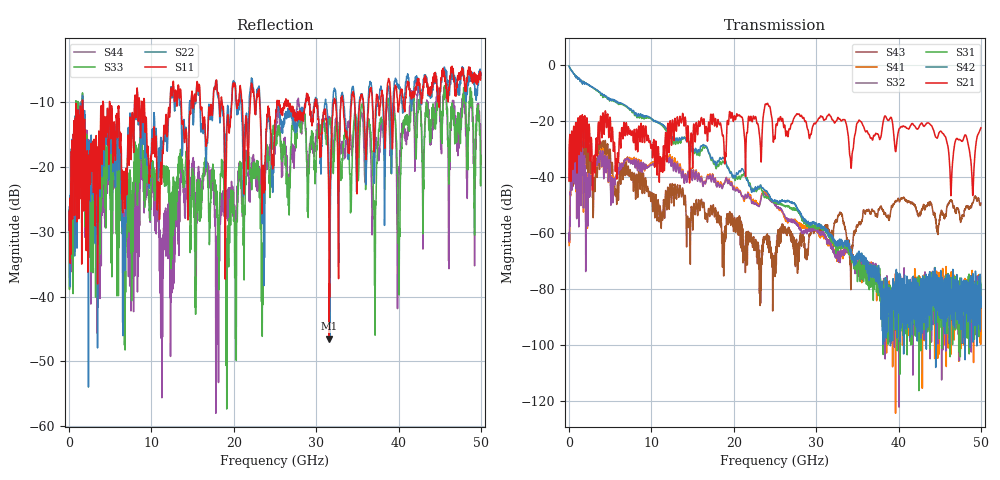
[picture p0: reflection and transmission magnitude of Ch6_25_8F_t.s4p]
!Agilent Technologies,N5247A,US51170199,A.09.90.13
!Agilent N5247A: A.09.90.13
!Date: Wednesday, December 16, 2015 09:41:17
!Correction: S11(Full 4 Port(1,2,3,4))
!S12(Full 4 Port(1,2,3,4))
!S13(Full 4 Port(1,2,3,4))
!S14(Full 4 Port(1,2,3,4))
!S21(Full 4 Port(1,2,3,4))
!S22(Full 4 Port(1,2,3,4))
!S23(Full 4 Port(1,2,3,4))
!S24(Full 4 Port(1,2,3,4))
!S31(Full 4 Port(1,2,3,4))
!S32(Full 4 Port(1,2,3,4))
!S33(Full 4 Port(1,2,3,4))
!S34(Full 4 Port(1,2,3,4))
!S41(Full 4 Port(1,2,3,4))
!S42(Full 4 Port(1,2,3,4))
!S43(Full 4 Port(1,2,3,4))
!S44(Full 4 Port(1,2,3,4))
!S4P File: Measurements: <S11,S12,S13,S14>,
!<S21,S22,S23,S24>,
!<S31,S32,S33,S34>,
!<S41,S42,S43,S44>:
# Hz S  dB  R 50
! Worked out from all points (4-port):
!   3201 points, 10 MHz to 50 GHz, reference 50 ohm
!   strongest paths, dB at 10 MHz, 12.51 GHz, 25 GHz, 37.5 GHz, 50 GHz:
!     S21: -41.3, -21.5, -26.3, -24.7, -22.4
!     S42: -0.4, -25.5, -48.4, -73.6, -83.2
!     S31: -0.4, -26.5, -49.4, -79.0, -79.3
!     S32: -63.2, -33.8, -50.2, -75.8, -80.5
!     S41: -64.5, -32.7, -49.7, -72.9, -81.7
!     S43: -41.6, -44.7, -75.6, -53.0, -49.4
!   lowest |S11| = -46.5 dB at 31.58 GHz (marker M1), VSWR 1.01, Z = 49.5 - j0.108 ohm
!   |S11| at or under -10 dB: 1.638 GHz to 4.102 GHz (2.464 GHz wide, 85.9 % of centre); 4.926 GHz to 7.953 GHz (3.027 GHz wide, 47 % of centre); 9.15 GHz to 12.29 GHz (3.135 GHz wide, 29.3 % of centre)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
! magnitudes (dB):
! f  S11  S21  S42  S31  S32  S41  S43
! 10 MHz  -29.8  -41.3  -0.4  -0.4  -63.2  -64.5  -41.6
! 650.5 MHz  -14.9  -25.4  -3.4  -3.4  -40.9  -40.0  -28.1
! 11.76 GHz  -12.2  -24.6  -22.5  -23.3  -33.9  -32.9  -45.5
! 23.18 GHz  -10.7  -26.5  -43.1  -43.5  -49.7  -49.3  -76.2
! 31.58 GHz  -46.5  -17.6  -61.1  -61.2  -63.3  -64.1  -60.2
! 46.38 GHz  -4.6  -46.5  -83.5  -91.0  -76.5  -82.6  -48.5
! 50 GHz  -5.6  -22.4  -83.2  -79.3  -80.5  -81.7  -49.4
